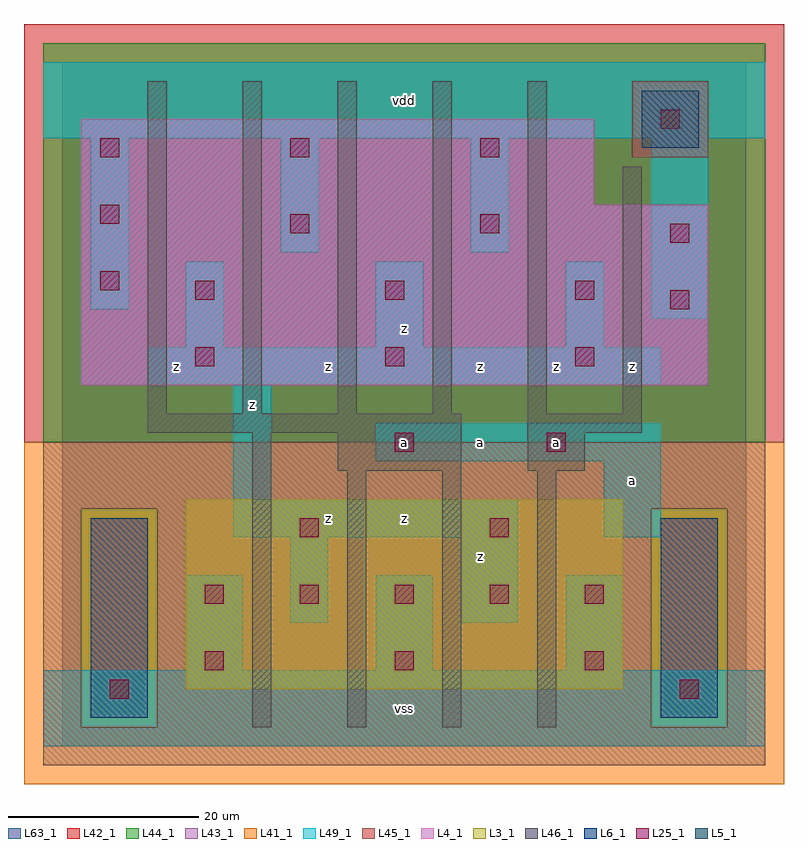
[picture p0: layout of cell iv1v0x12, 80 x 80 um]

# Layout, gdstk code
import gdstk
lib = gdstk.Library(unit=1e-6, precision=1e-09)
def R(c, l, rs):  # rectangles x0, y0, x1, y1
    for r in rs: c.add(gdstk.rectangle(r[:2], r[2:], *l))
def A(c, l, x, y, w, h, nx, ny, dx, dy):  # array of equal rectangles
    R(c, l, [(x+i*dx, y+j*dy, x+i*dx+w, y+j*dy+h) for i in range(nx) for j in range(ny)])
L3_1 = (3, 1)
L4_1 = (4, 1)
L5_1 = (5, 1)
L6_1 = (6, 1)
L25_1 = (25, 1)
L41_1 = (41, 1)
L42_1 = (42, 1)
L43_1 = (43, 1)
L44_1 = (44, 1)
L45_1 = (45, 1)
L46_1 = (46, 1)
L49_1 = (49, 1)
L63_1 = (63, 1)

iv1v0x12 = lib.new_cell('iv1v0x12')
R(iv1v0x12, L3_1, [(13,6,59,26)])
R(iv1v0x12, L4_1, [(2,38,68,57), (2,57,56,66)])
R(iv1v0x12, L5_1, [(61,63,67,69)])
R(iv1v0x12, L6_1, [(3,3,9,24), (3,3,9,24), (63,3,69,24), (63,3,69,24)])
A(iv1v0x12, L25_1, 15, 8, 2, 2, 3, 1, 20, 0)
A(iv1v0x12, L25_1, 15, 15, 2, 2, 5, 1, 10, 0)
A(iv1v0x12, L25_1, 14, 40, 2, 2, 3, 2, 20, 7)
A(iv1v0x12, L25_1, 4, 62, 2, 2, 3, 1, 20, 0)
R(iv1v0x12, L25_1, [(5,5,7,7), (65,5,67,7), (25,22,27,24), (45,22,47,24), (35,31,37,33), (51,31,53,33), (64,46,66,48), (4,48,6,50), (64,53,66,55), (24,54,26,56), (44,54,46,56), (4,55,6,57), (63,65,65,67)])
R(iv1v0x12, L41_1, [(-4,-4,76,32)])
R(iv1v0x12, L42_1, [(-4,32,76,76)])
R(iv1v0x12, L43_1, [(3,3,9,24), (63,3,69,24), (13,6,59,26), (2,38,68,57), (2,57,56,66), (61,63,67,69)])
R(iv1v0x12, L44_1, [(2,2,10,25), (62,2,70,25), (-2,32,74,62), (-2,62,60,70), (68,62,74,70), (-2,70,74,74)])
R(iv1v0x12, L45_1, [(-2,-2,74,2), (-2,2,2,25), (10,2,62,25), (70,2,74,25), (-2,25,74,32), (60,62,68,70)])
A(iv1v0x12, L46_1, 30, 2, 2, 27, 3, 1, 10, 0)
A(iv1v0x12, L46_1, 9, 35, 2, 35, 5, 1, 10, 0)
R(iv1v0x12, L46_1, [(20,2,22,33), (29,29,42,33), (49,29,55,33), (9,33,42,35), (49,33,61,35), (59,35,61,61)])
A(iv1v0x12, L49_1, 13, 8, 6, 10, 3, 1, 20, 0)
R(iv1v0x12, L49_1, [(-2,0,74,8), (24,13,28,22), (42,13,48,22), (18,22,48,26), (57,22,63,30), (18,26,22,38), (33,30,63,34), (9,38,63,42), (13,42,17,51), (33,42,38,51), (53,42,57,51), (62,45,68,64), (3,46,7,64), (23,52,27,64), (43,52,47,64), (-2,64,74,72)])
R(iv1v0x12, L63_1, [(0,0,72,72)])
iv1v0x12.add(gdstk.Label('z', (12,40), layer=49, texttype=1))
iv1v0x12.add(gdstk.Label('z', (28,24), layer=49, texttype=1))
iv1v0x12.add(gdstk.Label('z', (28,40), layer=49, texttype=1))
iv1v0x12.add(gdstk.Label('z', (20,36), layer=49, texttype=1))
iv1v0x12.add(gdstk.Label('vss', (36,4), layer=49, texttype=1))
iv1v0x12.add(gdstk.Label('z', (44,20), layer=49, texttype=1))
iv1v0x12.add(gdstk.Label('z', (36,24), layer=49, texttype=1))
iv1v0x12.add(gdstk.Label('a', (36,32), layer=49, texttype=1))
iv1v0x12.add(gdstk.Label('a', (44,32), layer=49, texttype=1))
iv1v0x12.add(gdstk.Label('a', (52,32), layer=49, texttype=1))
iv1v0x12.add(gdstk.Label('z', (44,40), layer=49, texttype=1))
iv1v0x12.add(gdstk.Label('z', (52,40), layer=49, texttype=1))
iv1v0x12.add(gdstk.Label('z', (36,44), layer=49, texttype=1))
iv1v0x12.add(gdstk.Label('vdd', (36,68), layer=49, texttype=1))
iv1v0x12.add(gdstk.Label('a', (60,28), layer=49, texttype=1))
iv1v0x12.add(gdstk.Label('z', (60,40), layer=49, texttype=1))

lib.write_gds('iv1v0x12.gds')
